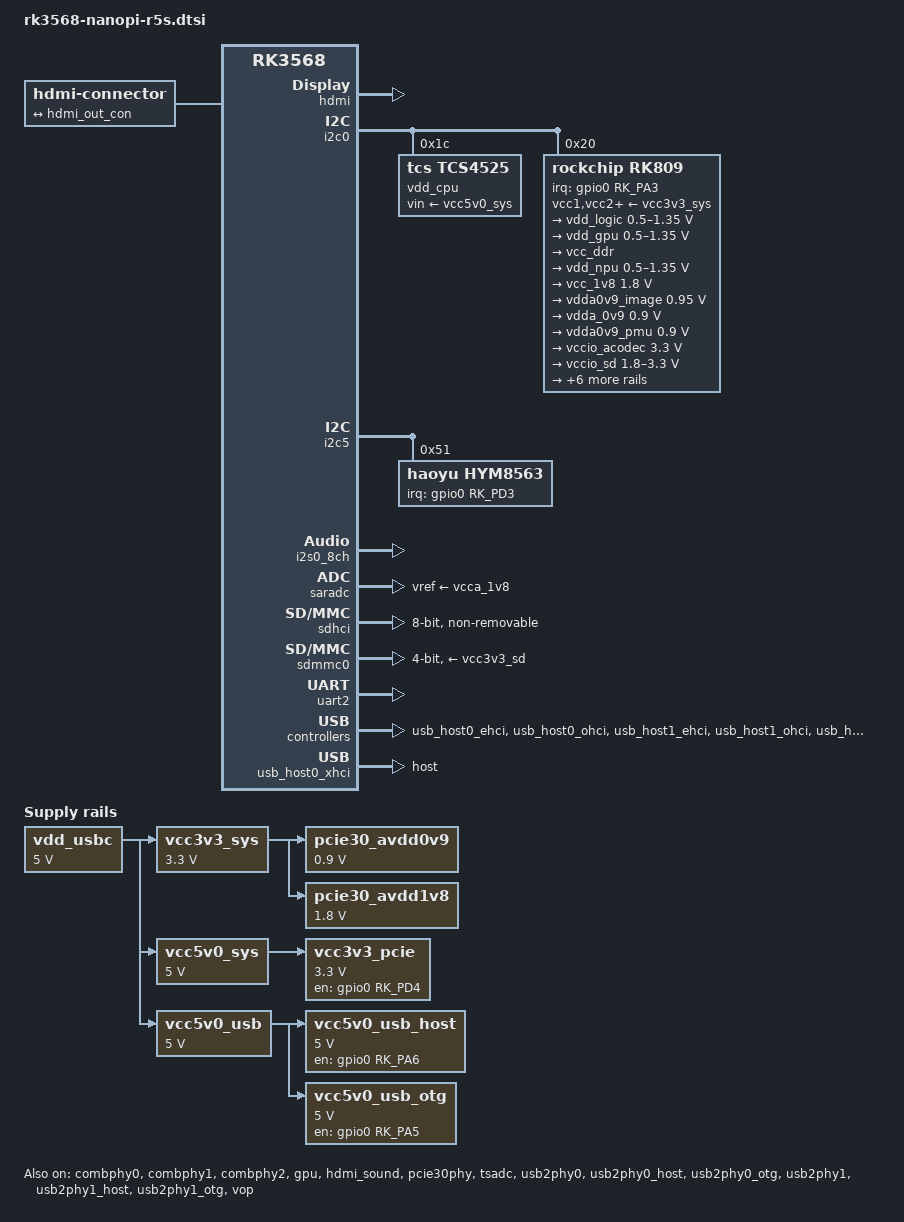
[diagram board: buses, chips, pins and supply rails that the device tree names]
// SPDX-License-Identifier: GPL-2.0-or-later OR MIT
/*
 * Copyright (c) 2022 FriendlyElec Computer Tech. Co., Ltd.
 * (http://www.friendlyelec.com)
 *
 * Copyright (c) 2023 Tianling Shen <cnsztl@gmail.com>
 */

/dts-v1/;
#include <dt-bindings/gpio/gpio.h>
#include <dt-bindings/input/input.h>
#include <dt-bindings/leds/common.h>
#include <dt-bindings/pinctrl/rockchip.h>
#include <dt-bindings/soc/rockchip,vop2.h>
#include "rk3568.dtsi"

/ {
	aliases {
		mmc0 = &sdmmc0;
		mmc1 = &sdhci;
	};

	chosen: chosen {
		stdout-path = "serial2:1500000n8";
	};

	hdmi-con {
		compatible = "hdmi-connector";
		type = "a";

		port {
			hdmi_con_in: endpoint {
				remote-endpoint = <&hdmi_out_con>;
			};
		};
	};

	vdd_usbc: vdd-usbc-regulator {
		compatible = "regulator-fixed";
		regulator-name = "vdd_usbc";
		regulator-always-on;
		regulator-boot-on;
		regulator-min-microvolt = <5000000>;
		regulator-max-microvolt = <5000000>;
	};

	vcc3v3_sys: vcc3v3-sys-regulator {
		compatible = "regulator-fixed";
		regulator-name = "vcc3v3_sys";
		regulator-always-on;
		regulator-boot-on;
		regulator-min-microvolt = <3300000>;
		regulator-max-microvolt = <3300000>;
		vin-supply = <&vdd_usbc>;
	};

	vcc5v0_sys: vcc5v0-sys-regulator {
		compatible = "regulator-fixed";
		regulator-name = "vcc5v0_sys";
		regulator-always-on;
		regulator-boot-on;
		regulator-min-microvolt = <5000000>;
		regulator-max-microvolt = <5000000>;
		vin-supply = <&vdd_usbc>;
	};

	vcc3v3_pcie: vcc3v3-pcie-regulator {
		compatible = "regulator-fixed";
		regulator-name = "vcc3v3_pcie";
		regulator-min-microvolt = <3300000>;
		regulator-max-microvolt = <3300000>;
		enable-active-high;
		gpios = <&gpio0 RK_PD4 GPIO_ACTIVE_HIGH>;
		startup-delay-us = <200000>;
		vin-supply = <&vcc5v0_sys>;
	};

	vcc5v0_usb: vcc5v0-usb-regulator {
		compatible = "regulator-fixed";
		regulator-name = "vcc5v0_usb";
		regulator-always-on;
		regulator-boot-on;
		regulator-min-microvolt = <5000000>;
		regulator-max-microvolt = <5000000>;
		vin-supply = <&vdd_usbc>;
	};

	vcc5v0_usb_host: vcc5v0-usb-host-regulator {
		compatible = "regulator-fixed";
		enable-active-high;
		gpio = <&gpio0 RK_PA6 GPIO_ACTIVE_HIGH>;
		pinctrl-names = "default";
		pinctrl-0 = <&vcc5v0_usb_host_en>;
		regulator-name = "vcc5v0_usb_host";
		regulator-always-on;
		regulator-boot-on;
		regulator-min-microvolt = <5000000>;
		regulator-max-microvolt = <5000000>;
		vin-supply = <&vcc5v0_usb>;
	};

	vcc5v0_usb_otg: vcc5v0-usb-otg-regulator {
		compatible = "regulator-fixed";
		enable-active-high;
		gpio = <&gpio0 RK_PA5 GPIO_ACTIVE_HIGH>;
		pinctrl-names = "default";
		pinctrl-0 = <&vcc5v0_usb_otg_en>;
		regulator-name = "vcc5v0_usb_otg";
		regulator-min-microvolt = <5000000>;
		regulator-max-microvolt = <5000000>;
		vin-supply = <&vcc5v0_usb>;
	};

	pcie30_avdd0v9: pcie30-avdd0v9-regulator {
		compatible = "regulator-fixed";
		regulator-name = "pcie30_avdd0v9";
		regulator-always-on;
		regulator-boot-on;
		regulator-min-microvolt = <900000>;
		regulator-max-microvolt = <900000>;
		vin-supply = <&vcc3v3_sys>;
	};

	pcie30_avdd1v8: pcie30-avdd1v8-regulator {
		compatible = "regulator-fixed";
		regulator-name = "pcie30_avdd1v8";
		regulator-always-on;
		regulator-boot-on;
		regulator-min-microvolt = <1800000>;
		regulator-max-microvolt = <1800000>;
		vin-supply = <&vcc3v3_sys>;
	};
};

&combphy0 {
	status = "okay";
};

&combphy1 {
	status = "okay";
};

&combphy2 {
	status = "okay";
};

&cpu0 {
	cpu-supply = <&vdd_cpu>;
};

&cpu1 {
	cpu-supply = <&vdd_cpu>;
};

&cpu2 {
	cpu-supply = <&vdd_cpu>;
};

&cpu3 {
	cpu-supply = <&vdd_cpu>;
};

&gpu {
	mali-supply = <&vdd_gpu>;
	status = "okay";
};

&hdmi {
	avdd-0v9-supply = <&vdda0v9_image>;
	avdd-1v8-supply = <&vcca1v8_image>;
	status = "okay";
};

&hdmi_in {
	hdmi_in_vp0: endpoint {
		remote-endpoint = <&vp0_out_hdmi>;
	};
};

&hdmi_out {
	hdmi_out_con: endpoint {
		remote-endpoint = <&hdmi_con_in>;
	};
};

&hdmi_sound {
	status = "okay";
};

&i2c0 {
	status = "okay";

	vdd_cpu: regulator@1c {
		compatible = "tcs,tcs4525";
		reg = <0x1c>;
		fcs,suspend-voltage-selector = <1>;
		regulator-name = "vdd_cpu";
		regulator-always-on;
		regulator-boot-on;
		regulator-min-microvolt = <800000>;
		regulator-max-microvolt = <1150000>;
		regulator-ramp-delay = <2300>;
		vin-supply = <&vcc5v0_sys>;

		regulator-state-mem {
			regulator-off-in-suspend;
		};
	};

	rk809: pmic@20 {
		compatible = "rockchip,rk809";
		reg = <0x20>;
		interrupt-parent = <&gpio0>;
		interrupts = <RK_PA3 IRQ_TYPE_LEVEL_LOW>;
		#clock-cells = <1>;
		pinctrl-names = "default";
		pinctrl-0 = <&pmic_int>;
		rockchip,system-power-controller;
		vcc1-supply = <&vcc3v3_sys>;
		vcc2-supply = <&vcc3v3_sys>;
		vcc3-supply = <&vcc3v3_sys>;
		vcc4-supply = <&vcc3v3_sys>;
		vcc5-supply = <&vcc3v3_sys>;
		vcc6-supply = <&vcc3v3_sys>;
		vcc7-supply = <&vcc3v3_sys>;
		vcc8-supply = <&vcc3v3_sys>;
		vcc9-supply = <&vcc3v3_sys>;
		wakeup-source;

		regulators {
			vdd_logic: DCDC_REG1 {
				regulator-name = "vdd_logic";
				regulator-always-on;
				regulator-boot-on;
				regulator-init-microvolt = <900000>;
				regulator-initial-mode = <0x2>;
				regulator-min-microvolt = <500000>;
				regulator-max-microvolt = <1350000>;
				regulator-ramp-delay = <6001>;

				regulator-state-mem {
					regulator-off-in-suspend;
				};
			};

			vdd_gpu: DCDC_REG2 {
				regulator-name = "vdd_gpu";
				regulator-always-on;
				regulator-init-microvolt = <900000>;
				regulator-initial-mode = <0x2>;
				regulator-min-microvolt = <500000>;
				regulator-max-microvolt = <1350000>;
				regulator-ramp-delay = <6001>;

				regulator-state-mem {
					regulator-off-in-suspend;
				};
			};

			vcc_ddr: DCDC_REG3 {
				regulator-name = "vcc_ddr";
				regulator-always-on;
				regulator-boot-on;
				regulator-initial-mode = <0x2>;

				regulator-state-mem {
					regulator-on-in-suspend;
				};
			};

			vdd_npu: DCDC_REG4 {
				regulator-name = "vdd_npu";
				regulator-init-microvolt = <900000>;
				regulator-initial-mode = <0x2>;
				regulator-min-microvolt = <500000>;
				regulator-max-microvolt = <1350000>;
				regulator-ramp-delay = <6001>;

				regulator-state-mem {
					regulator-off-in-suspend;
				};
			};

			vcc_1v8: DCDC_REG5 {
				regulator-name = "vcc_1v8";
				regulator-always-on;
				regulator-boot-on;
				regulator-min-microvolt = <1800000>;
				regulator-max-microvolt = <1800000>;

				regulator-state-mem {
					regulator-off-in-suspend;
				};
			};

			vdda0v9_image: LDO_REG1 {
				regulator-name = "vdda0v9_image";
				regulator-min-microvolt = <950000>;
				regulator-max-microvolt = <950000>;

				regulator-state-mem {
					regulator-off-in-suspend;
				};
			};

			vdda_0v9: LDO_REG2 {
				regulator-name = "vdda_0v9";
				regulator-always-on;
				regulator-boot-on;
				regulator-min-microvolt = <900000>;
				regulator-max-microvolt = <900000>;

				regulator-state-mem {
					regulator-off-in-suspend;
				};
			};

			vdda0v9_pmu: LDO_REG3 {
				regulator-name = "vdda0v9_pmu";
				regulator-always-on;
				regulator-boot-on;
				regulator-min-microvolt = <900000>;
				regulator-max-microvolt = <900000>;

				regulator-state-mem {
					regulator-on-in-suspend;
					regulator-suspend-microvolt = <900000>;
				};
			};

			vccio_acodec: LDO_REG4 {
				regulator-name = "vccio_acodec";
				regulator-min-microvolt = <3300000>;
				regulator-max-microvolt = <3300000>;

				regulator-state-mem {
					regulator-off-in-suspend;
				};
			};

			vccio_sd: LDO_REG5 {
				regulator-name = "vccio_sd";
				regulator-min-microvolt = <1800000>;
				regulator-max-microvolt = <3300000>;

				regulator-state-mem {
					regulator-off-in-suspend;
				};
			};

			vcc3v3_pmu: LDO_REG6 {
				regulator-name = "vcc3v3_pmu";
				regulator-always-on;
				regulator-boot-on;
				regulator-min-microvolt = <3300000>;
				regulator-max-microvolt = <3300000>;

				regulator-state-mem {
					regulator-on-in-suspend;
					regulator-suspend-microvolt = <3300000>;
				};
			};

			vcca_1v8: LDO_REG7 {
				regulator-name = "vcca_1v8";
				regulator-always-on;
				regulator-boot-on;
				regulator-min-microvolt = <1800000>;
				regulator-max-microvolt = <1800000>;

				regulator-state-mem {
					regulator-off-in-suspend;
				};
			};

			vcca1v8_pmu: LDO_REG8 {
				regulator-name = "vcca1v8_pmu";
				regulator-always-on;
				regulator-boot-on;
				regulator-min-microvolt = <1800000>;
				regulator-max-microvolt = <1800000>;

				regulator-state-mem {
					regulator-on-in-suspend;
					regulator-suspend-microvolt = <1800000>;
				};
			};

			vcca1v8_image: LDO_REG9 {
				regulator-name = "vcca1v8_image";
				regulator-min-microvolt = <1800000>;
				regulator-max-microvolt = <1800000>;

				regulator-state-mem {
					regulator-off-in-suspend;
				};
			};

			vcc_3v3: SWITCH_REG1 {
				regulator-name = "vcc_3v3";
				regulator-always-on;
				regulator-boot-on;

				regulator-state-mem {
					regulator-off-in-suspend;
				};
			};

			vcc3v3_sd: SWITCH_REG2 {
				regulator-name = "vcc3v3_sd";
				regulator-always-on;
				regulator-boot-on;

				regulator-state-mem {
					regulator-off-in-suspend;
				};
			};
		};

	};
};

&i2c5 {
	status = "okay";

	hym8563: rtc@51 {
		compatible = "haoyu,hym8563";
		reg = <0x51>;
		interrupt-parent = <&gpio0>;
		interrupts = <RK_PD3 IRQ_TYPE_LEVEL_LOW>;
		#clock-cells = <0>;
		clock-output-names = "rtcic_32kout";
		pinctrl-names = "default";
		pinctrl-0 = <&hym8563_int>;
		wakeup-source;
	};
};

&i2s0_8ch {
	status = "okay";
};

&pcie30phy {
	data-lanes = <1 2>;
	status = "okay";
};

&pinctrl {
	hym8563 {
		hym8563_int: hym8563-int {
			rockchip,pins = <0 RK_PD3 RK_FUNC_GPIO &pcfg_pull_up>;
		};
	};

	pmic {
		pmic_int: pmic-int {
			rockchip,pins = <0 RK_PA3 RK_FUNC_GPIO &pcfg_pull_up>;
		};
	};

	usb {
		vcc5v0_usb_host_en: vcc5v0-usb-host-en {
			rockchip,pins = <0 RK_PA6 RK_FUNC_GPIO &pcfg_pull_none>;
		};

		vcc5v0_usb_otg_en: vcc5v0-usb-otg-en {
			rockchip,pins = <0 RK_PA5 RK_FUNC_GPIO &pcfg_pull_none>;
		};
	};
};

&pmu_io_domains {
	pmuio1-supply = <&vcc3v3_pmu>;
	pmuio2-supply = <&vcc3v3_pmu>;
	vccio1-supply = <&vccio_acodec>;
	vccio3-supply = <&vccio_sd>;
	vccio4-supply = <&vcc_1v8>;
	vccio5-supply = <&vcc_3v3>;
	vccio6-supply = <&vcc_1v8>;
	vccio7-supply = <&vcc_3v3>;
	status = "okay";
};

&saradc {
	vref-supply = <&vcca_1v8>;
	status = "okay";
};

&sdhci {
	bus-width = <8>;
	max-frequency = <200000000>;
	non-removable;
	pinctrl-names = "default";
	pinctrl-0 = <&emmc_bus8 &emmc_clk &emmc_cmd>;
	status = "okay";
};

&sdmmc0 {
	max-frequency = <150000000>;
	no-sdio;
	no-mmc;
	bus-width = <4>;
	cap-mmc-highspeed;
	cap-sd-highspeed;
	disable-wp;
	vmmc-supply = <&vcc3v3_sd>;
	vqmmc-supply = <&vccio_sd>;
	pinctrl-names = "default";
	pinctrl-0 = <&sdmmc0_bus4 &sdmmc0_clk &sdmmc0_cmd &sdmmc0_det>;
	status = "okay";
};

&tsadc {
	rockchip,hw-tshut-mode = <1>;
	rockchip,hw-tshut-polarity = <0>;
	status = "okay";
};

&uart2 {
	status = "okay";
};

&usb_host0_ehci {
	status = "okay";
};

&usb_host0_ohci {
	status = "okay";
};

&usb_host0_xhci {
	extcon = <&usb2phy0>;
	dr_mode = "host";
	status = "okay";
};

&usb_host1_ehci {
	status = "okay";
};

&usb_host1_ohci {
	status = "okay";
};

&usb_host1_xhci {
	status = "okay";
};

&usb2phy0 {
	status = "okay";
};

&usb2phy0_host {
	phy-supply = <&vcc5v0_usb_host>;
	status = "okay";
};

&usb2phy0_otg {
	status = "okay";
};

&usb2phy1 {
	status = "okay";
};

&usb2phy1_host {
	phy-supply = <&vcc5v0_usb_otg>;
	status = "okay";
};

&usb2phy1_otg {
	status = "okay";
};

&vop {
	assigned-clocks = <&cru DCLK_VOP0>, <&cru DCLK_VOP1>;
	assigned-clock-parents = <&pmucru PLL_HPLL>, <&cru PLL_VPLL>;
	status = "okay";
};

&vop_mmu {
	status = "okay";
};

&vp0 {
	vp0_out_hdmi: endpoint@ROCKCHIP_VOP2_EP_HDMI0 {
		reg = <ROCKCHIP_VOP2_EP_HDMI0>;
		remote-endpoint = <&hdmi_in_vp0>;
	};
};
